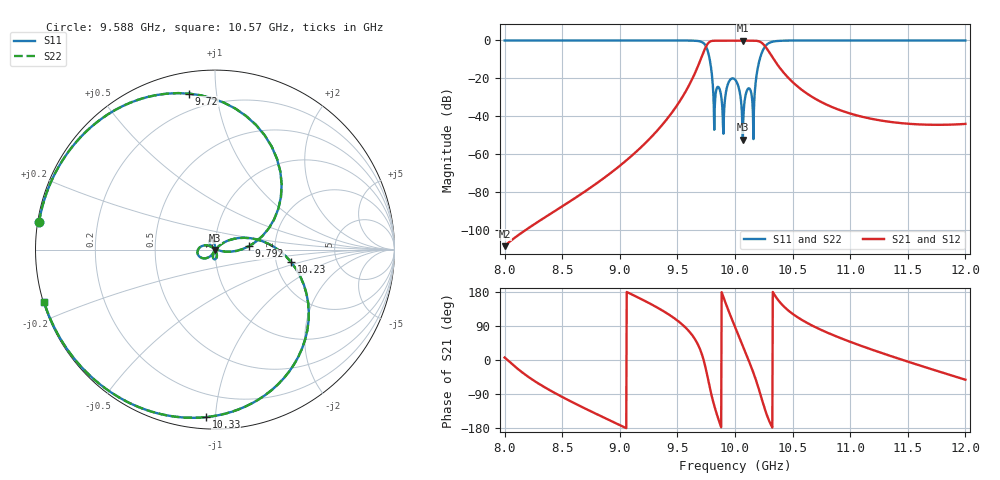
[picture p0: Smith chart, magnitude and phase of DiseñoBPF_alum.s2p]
! TOUCHSTONE file generated by CST MICROWAVE STUDIO
! Date and time: Sat Oct  4 19:49:01 2025
! Project name: DiseñoBPF_alum.cst
! Parameters = {L=20; Lc1=19.0311; Lc2=21.4361; a=19.05; b=9.525; t=1.5; w1=11.7375; w2=8.46096; w3=7.78789}
! Header version: 2024
! Port assignment regex: !\s*Touchstone port\s*([0-9]+)\s*=\s*(CST MWS port|CST DES external port|CST DES block port)\s*(.+)\s* \(\"(.*)\"\)(\s*mode\s*([0-9]+))?.*
! Touchstone port assignment:
! Touchstone port 1 = CST MWS port 1 ("")
! Touchstone port 2 = CST MWS port 2 ("")
! S-Parameters are not renormalized. Unphysical impedance of 610.342 will be written to the file.
# GHz S MA R 610.342
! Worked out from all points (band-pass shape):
!   1001 points, 8 GHz to 12 GHz, reference per port
!   highest |S21| = -0.11 dB at 10.07 GHz (marker M1); lowest = -108.8 dB at 8 GHz (marker M2)
!   |S21| within 3 dB of the highest: 9.75 GHz to 10.26 GHz (512.1 MHz wide, 5.12 % of centre)
!   lowest |S11| = -52.6 dB at 10.07 GHz (marker M3), VSWR 1.00
!   |S11| at or under -10 dB: 9.78 GHz to 10.21 GHz (434.1 MHz wide, 4.34 % of centre)
!   |S22| runs from -53.9 to 0.0 dB; largest |S21 - S12| = 5.6e-05
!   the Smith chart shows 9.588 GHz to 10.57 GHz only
!   S11 on the Smith chart (normalised r, x): 9.588 GHz: 0.00, +0.08; 9.72 GHz: 0.11, +0.84; 9.792 GHz: 1.47, +0.06; 10.23 GHz: 2.43, -0.42; 10.33 GHz: 0.06, -0.94; 10.57 GHz: 0.00, -0.15
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8  0.9956 97.0  3.632e-06 6.6  3.632e-06 6.6  0.9956 97.0
8.308  0.9973 25.7  1.739e-05 -64.7  1.733e-05 -64.2  0.9973 25.7
8.668  0.998 -33.1  8.836e-05 -123.5  8.835e-05 -123.4  0.998 -33.1
9.016  0.9977 -83.6  0.0005305 -174.1  0.0005308 -174.1  0.9977 -83.7
9.336  0.997 -132.9  0.004503 136.5  0.004503 136.5  0.997 -132.9
9.588  0.9926 171.0  0.05487 80.2  0.05487 80.2  0.9926 171.0
9.72  0.8806 99.4  0.4334 8.0  0.4334 8.0  0.8806 99.3
9.756  0.6113 55.5  0.758 -36.3  0.758 -36.3  0.6113 55.5
9.792  0.1912 5.9  0.9573 -87.4  0.9573 -87.4  0.1912 5.8
9.82  0.00434 75.6  0.9807 -120.7  0.9807 -120.7  0.004448 75.2
9.86  0.05688 111.0  0.9823 -159.8  0.9823 -159.8  0.05688 110.7
9.884  0.02701 93.1  0.9846 179.0  0.9845 179.0  0.027 92.5
10  0.09245 178.0  0.9832 87.5  0.9832 87.5  0.09245 177.9
10.068  0.002355 -108.7  0.9878 37.0  0.9878 37.0  0.002018 -101.4
10.112  0.05261 -86.9  0.9864 4.0  0.9864 4.0  0.05261 -86.3
10.164  0.01369 41.2  0.9867 -37.3  0.9867 -37.3  0.0138 39.4
10.228  0.431 -9.4  0.885 -98.3  0.885 -98.3  0.431 -9.5
10.332  0.9347 -93.1  0.3329 177.4  0.3329 177.4  0.9347 -93.1
10.572  0.9963 -162.9  0.05151 107.3  0.0515 107.3  0.9963 -162.9
10.668  0.9975 -179.0  0.03234 91.2  0.03233 91.2  0.9975 -179.0
11.336  0.9985 102.2  0.007093 12.1  0.007091 12.1  0.9985 102.1
12  0.9985 38.1  0.006205 -52.0  0.006205 -52.0  0.9985 38.1
